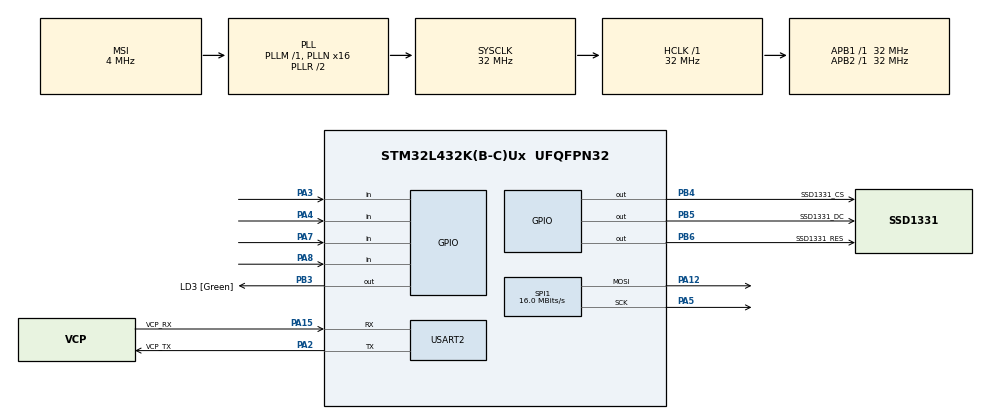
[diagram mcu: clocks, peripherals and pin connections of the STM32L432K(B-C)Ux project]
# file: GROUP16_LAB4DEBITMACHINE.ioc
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Mcu.Family=STM32L4
Mcu.Name=STM32L432K(B-C)Ux
Mcu.Package=UFQFPN32
NVIC.PriorityGroup=NVIC_PRIORITYGROUP_4
PA0.GPIO_Label=MCO [High speed clock in]
PA0.Mode=HSE-External-Clock-Source-for-LittleOrca
PA0.Signal=RCC_CK_IN
PA12.Mode=TX_Only_Simplex_Unidirect_Master
PA12.Signal=SPI1_MOSI
PA13\ (JTMS-SWDIO).GPIO_Label=SWDIO
PA13\ (JTMS-SWDIO).Mode=Serial_Wire
PA13\ (JTMS-SWDIO).Signal=SYS_JTMS-SWDIO
PA14\ (JTCK-SWCLK).GPIO_Label=SWCLK
PA14\ (JTCK-SWCLK).Mode=Serial_Wire
PA14\ (JTCK-SWCLK).Signal=SYS_JTCK-SWCLK
PA15\ (JTDI).GPIO_Label=VCP_RX
PA15\ (JTDI).Mode=Asynchronous
PA15\ (JTDI).Signal=USART2_RX
PA2.GPIO_Label=VCP_TX
PA2.Mode=Asynchronous
PA2.Signal=USART2_TX
PA3.GPIO_PuPd=GPIO_PULLUP
PA3.Signal=GPIO_Input
PA4.GPIO_PuPd=GPIO_PULLUP
PA4.Signal=GPIO_Input
PA5.Mode=TX_Only_Simplex_Unidirect_Master
PA5.Signal=SPI1_SCK
PA7.GPIO_PuPd=GPIO_PULLUP
PA7.Signal=GPIO_Input
PA8.GPIO_PuPd=GPIO_PULLUP
PA8.Signal=GPIO_Input
PB3\ (JTDO-TRACESWO).GPIO_Label=LD3 [Green]
PB3\ (JTDO-TRACESWO).Signal=GPIO_Output
PB4\ (NJTRST).GPIO_Label=SSD1331_CS
PB4\ (NJTRST).Signal=GPIO_Output
PB5.GPIO_Label=SSD1331_DC
PB5.Signal=GPIO_Output
PB6.GPIO_Label=SSD1331_RES
PB6.Signal=GPIO_Output
PC14-OSC32_IN\ (PC14).Mode=LSE-External-Oscillator
PC14-OSC32_IN\ (PC14).Signal=RCC_OSC32_IN
PC15-OSC32_OUT\ (PC15).Mode=LSE-External-Oscillator
PC15-OSC32_OUT\ (PC15).Signal=RCC_OSC32_OUT
ProjectManager.HeapSize=0x200
ProjectManager.StackSize=0x400
ProjectManager.TargetToolchain=STM32CubeIDE
RCC.AHBFreq_Value=32000000
RCC.APB1Freq_Value=32000000
RCC.APB1TimFreq_Value=32000000
RCC.APB2Freq_Value=32000000
RCC.APB2TimFreq_Value=32000000
RCC.CortexFreq_Value=32000000
RCC.HCLKFreq_Value=32000000
RCC.HSE_VALUE=8000000
RCC.HSI16_VALUE=16000000
RCC.HSI48_VALUE=48000000
RCC.HSI_VALUE=16000000
RCC.MSI_VALUE=4000000
RCC.PLLMUL=RCC_PLLMUL_4
RCC.PLLN=16
RCC.SYSCLKFreq_VALUE=32000000
RCC.SYSCLKSource=RCC_SYSCLKSOURCE_PLLCLK
RCC.VCOOutputFreq_Value=64000000
SPI1.CalculateBaudRate=16.0 MBits/s
SPI1.DataSize=SPI_DATASIZE_8BIT
SPI1.Direction=SPI_DIRECTION_2LINES
SPI1.Mode=SPI_MODE_MASTER
SPI1.VirtualType=VM_MASTER
USART2.VirtualMode-Asynchronous=VM_ASYNC
board=NUCLEO-L432KC

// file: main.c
/* USER CODE BEGIN Header */
/**
  ******************************************************************************
  * FILE           : main.c
  * PROJECT reference class: professor vasudevan,professor shahed shahir ,assignement4
  * PROGRAMMER     : CHALUMURI SAI KISHORE ,VIZIA VIDYA SAGAR
  * FIRST VERSION  : 2021-NOVEMBER-15TH
  * DESCRIPTION    : Code for embedded system implementing Debit card rea
  *  der machine using the STM32L432 Nucleo-32 board.
  *  This Debit reader machine can be used as Atms in Banks, Shopping malls to withdraw money from user's bank accountby
  *  giving them the choice to select between chequeing and savings account prior the verification of user information
  *  through input of pin number by clicking the push buttons. The messages to the user are displayed on the OLED ssd1331 and putty.
  *  Once the user is verified it gives the relevant approved and Thank you messages else incorrect pin message will be displayed
  ******************************************************************************
  */
/* USER CODE END Header */
#include "main.h"

/* USER CODE BEGIN Includes */
#include "ssd1331.h"// header file for oled display inbuilt it contins oled functions
#include "fonts.h"//header file for oled display
#include<stdio.h>
#include "stdio.h"
#include "debouncer.h"// header file for debouncer
/* USER CODE END Includes */

SPI_HandleTypeDef hspi1;

UART_HandleTypeDef huart2;

void SystemClock_Config(void);
static void MX_GPIO_Init(void);
static void MX_USART2_UART_Init(void);
static void MX_SPI1_Init(void);

/* USER CODE BEGIN 0 */

// function declrations of the defined functions of the code
void printWelcome();
void printAmount();
void printAccount();
void printCancelled();
void printEnterpin();
void printProcessing();
void printIncorrect();
void printNobalance();
void printApproved();
/* USER CODE END 0 */

int main(void)
{
  /* USER CODE BEGIN 1 */
	//setting up GPIO pins
		uint16_t pin= GPIO_PIN_3;//button for 1
		uint16_t pin2= GPIO_PIN_4;//button for 2
		uint16_t pin3= GPIO_PIN_7;//button for 3

		uint16_t pin4= GPIO_PIN_8;//button for 4

		char port= 'A';//setting port
		int8_t mode = 0;//setting mode
		//initializing ports
		int8_t pA3=1;
		int8_t pA4=1;
		int8_t pA7=1;
		int8_t pA8=1;

		int16_t passCode[]={1111,1121,1133,1213,2111,2331,3111,3211,3333};//preassigning passcodes
		int16_t passWord[3]={0};//password entered by user
		int16_t passwordInt=0;// variable to store the interger value of password entered by user
	//initializing the debounce
		deBounceInit( pin, port, mode);
		deBounceInit2( pin2, port, mode);
		deBounceInit3( pin3, port, mode);
		deBounceInit4( pin4, port, mode);

		int16_t num=0;//for differentiate which button is pressed
		int16_t buttonPressed=0;
		int16_t tranState=0;// state machine state
		int16_t i=0;//counter1
		int16_t j=0;//counter2
		int16_t flag=0;
  /* USER CODE END 1 */

  /* MCU Configuration--------------------------------------------------------*/

  /* Reset of all peripherals, Initializes the Flash interface and the Systick. */
  HAL_Init();

  /* Configure the system clock */
  SystemClock_Config();

  /* Initialize all configured peripherals */
  MX_GPIO_Init();
  MX_USART2_UART_Init();
  MX_SPI1_Init();
  /* USER CODE BEGIN 2 */
  ssd1331_init();
  /* USER CODE END 2 */

  /* Infinite loop */
  while (1)
  {

    /* USER CODE BEGIN 3 */

	  switch(tranState)// USING switch statement for state machine
	      {
	      case 0: printWelcome();//function call to print welcome
	          	int16_t passwordInt=0;//initializing password integer
	         	printf("Welcome\r\n");
	         	//getting the input from ok button
	     	   	pA8 = deBounceReadPin4(pin4, port, mode);
	             if(pA8==0)
	             {
	             	tranState=1;
	             	break;
	             }
	             else
	             {
	             	tranState=0;
	             	break;
	             }
	      case 1:
	     	    printAmount();//function call to print amount
	     	    printf("12.4\r\n press ok or canc\r\n");
	     	    // getting input from button 1 and 2
	     	  	pA3 = deBounceReadPin(pin, port, mode);
	     		pA4 = deBounceReadPin2(pin2, port, mode);
	     		if(pA3==0)
	     		{
	     			tranState=2;
	     			break;
	     		}
	     		else if(pA4==0)
	     		{
	     			tranState=13;
	     			break;

	     		}
	     		else
	     		{
	     			tranState=1;
	     			break;
	     		}

	 		case 2:
	 			printAccount();//fuction call to print account type
	 			printf("Press 1 for Chequing\r\nand 2 for Savings\r\n");
	     	    // getting input from button 1 and 2
	     	  	pA3 = deBounceReadPin(pin, port, mode);
	     		pA4 = deBounceReadPin2(pin2, port, mode);
	     		if(pA3==0)
	     		{
	     			tranState=3;
	     			break;
	     		}
	     		else if(pA4==0)
	 			{
	 				tranState=3;
	 				break;
	 			}
	 			else
	 			{
	 				tranState=2;
	 				break;
	 			}

	 		case 3:
	 			printEnterpin();//function to print enter pin
	 			printf("Enter pin\r\n");
	 			//getting input from all the buttons for first number of password
	 			pA3 = deBounceReadPin(pin, port, mode);
	 			pA4 = deBounceReadPin2(pin2, port, mode);
	 			pA7 = deBounceReadPin3(pin3, port, mode);
	 		    pA8 = deBounceReadPin4(pin4, port, mode);
	 		    if(pA3==0)
	 		    {
	 		    	ssd1331_display_string(1, 2, "*", FONT_1608, GREEN);
	 		    	HAL_Delay(50);
	 		    	ssd1331_clear_screen(BLACK );
	 		    	printf("*");
	 		    	passWord[0]=1;
	 		    	tranState=4;
	 		    	break;
	 		    }
	 		    else if(pA4==0)
	 		    {
	 		    	  ssd1331_display_string(1, 2, "*", FONT_1608, GREEN);
	 		    	HAL_Delay(50);
	 		       ssd1331_clear_screen(BLACK );
	 		      printf("*");
	 		    	passWord[0]=2;
	 		    	tranState=4;
	 		    	break;
	 		    }
	 		    else if (pA7==0)
	 		    {
	 		    	ssd1331_display_string(1, 2, "*", FONT_1608, GREEN);
	 		    	HAL_Delay(50);
	 		        ssd1331_clear_screen(BLACK );
	 		        printf("*");
	 		    	passWord[0]=3;
	 		    	tranState=4;
	 		    	break;
	 		    }
	 		    else
	 		    {
	 		    	tranState=3;
	 		    	break;
	 		    }
	 		case 4:

	 						//getting input from all the buttons for second number of password
	 						pA3 = deBounceReadPin(pin, port, mode);
	 				        pA4 = deBounceReadPin2(pin2, port, mode);
	 				        pA7 = deBounceReadPin3(pin3, port, mode);
	 				        pA8 = deBounceReadPin4(pin4, port, mode);
	 				        if(pA3==0)
	 				        {
	 				        	ssd1331_display_string(1, 2, "**", FONT_1608, GREEN);//display string function call
	 				            HAL_Delay(50);
	 				            ssd1331_clear_screen(BLACK );
	 				            printf("*");
	 			    	     passWord[1]=1;
	 			    	     tranState=5;
	 			    	     break;
	 			            }
	 			          else if(pA4==0)
	 			           {
	 			        	  ssd1331_display_string(1, 2, "**", FONT_1608, GREEN);////display string function call
	 			        	  HAL_Delay(50);
	 			        	  ssd1331_clear_screen(BLACK );
	 			        	  printf("*");
	 			     	     passWord[1]=2;
	 			    	     tranState=5;
	 			    	     break;
	 			            }
	 			         else if (pA7==0)
	 			          {
	 			        	ssd1331_display_string(1, 2, "**", FONT_1608, GREEN);//display string function call
	 			            HAL_Delay(50);
	 			            ssd1331_clear_screen(BLACK );
	 			            printf("*");
	 			        	passWord[1]=3;
	 			        	tranState=5;
	 			    	    break;
	 			          }
	 			         else
	 			         {
	 			        	tranState=4;
	 			        	break;
	 			         }
	 		case 5:

	 					//getting input from all the buttons for third number of password
	 					pA3 = deBounceReadPin(pin, port, mode);
	 			        pA4 = deBounceReadPin2(pin2, port, mode);
	 			        pA7 = deBounceReadPin3(pin3, port, mode);
	 			        pA8 = deBounceReadPin4(pin4, port, mode);
	 			        if(pA3==0)
	 			        {
	 			        	ssd1331_display_string(1, 2, "***", FONT_1608, GREEN);//display string function call
	 			            HAL_Delay(50);
	 			            ssd1331_clear_screen(BLACK );
	 			            printf("*");
	 		    	     passWord[2]=1;
	 		    	     tranState=6;
	 		    	     break;
	 		            }
	 		          else if(pA4==0)
	 		           {
	 		        	 ssd1331_display_string(1, 2, "***", FONT_1608, GREEN);//display string function call
	 		        	 HAL_Delay(50);
	 		        	 ssd1331_clear_screen(BLACK );
	 		        	 printf("*");
	 		     	     passWord[2]=2;
	 		    	     tranState=6;
	 		    	     break;
	 		            }
	 		         else if (pA7==0)
	 		          {
	 		        	ssd1331_display_string(1, 2, "***", FONT_1608, GREEN);//display string function call
	 		            HAL_Delay(50);
	 		            ssd1331_clear_screen(BLACK );
	 		            printf("*");

	 		        	passWord[2]=3;
	 		        	tranState=6;
	 		    	    break;
	 		          }
	 		         else
	 		         {
	 		        	tranState=5;
	 		        	break;
	 		         }
	 		case 6:
	 					//getting input from all the buttons for fourth number of password

	 					pA3 = deBounceReadPin(pin, port, mode);
	 			        pA4 = deBounceReadPin2(pin2, port, mode);
	 			        pA7 = deBounceReadPin3(pin3, port, mode);
	 			        pA8 = deBounceReadPin4(pin4, port, mode);
	 			        if(pA3==0)
	 			        {
	 			        	 ssd1331_display_string(1, 2, "****", FONT_1608, GREEN);//display string function call
	 			        	 HAL_Delay(50);
	 			        	 ssd1331_clear_screen(BLACK );
	 			        	 printf("*");
	 		    	     passWord[3]=1;
	 		    	     tranState=7;
	 		    	     break;
	 		            }
	 		          else if(pA4==0)
	 		           {
	 		        	 ssd1331_display_string(1, 2, "****", FONT_1608, GREEN);//display string function call
	 		        	 HAL_Delay(50);
	 		        	 ssd1331_clear_screen(BLACK );
	 		        	 printf("*");
	 		     	     passWord[3]=2;
	 		    	     tranState=7;
	 		    	     break;
	 		            }
	 		         else if (pA7==0)
	 		          {
	 		        	ssd1331_display_string(1, 2, "****", FONT_1608, GREEN);//display string function call
	 		        	HAL_Delay(50);
	 		           ssd1331_clear_screen(BLACK );
	 		        	printf("*");
	 		        	passWord[3]=3;
	 		        	tranState=7;
	 		    	    break;
	 		          }
	 		         else
	 		         {
	 		        	tranState=6;
	 		        	break;
	 		         }

	 				case 7:

	 					HAL_Delay(1);
	 					//getting input from ok button
	 					pA8 = deBounceReadPin4(pin4, port, mode);
	 				    if(pA8==0)
	 					{

	 					 tranState=8;
	 					 break;
	 				    }
	 					else
	 					{
	 					tranState=7;
	 					break;
	 				    }
	 				case 8:
	 					//print processing
	 					printProcessing();
	 					//converting ented password into interger value
	 					for(i=0;i<4;i++)
	 					{
	 						passwordInt= passwordInt*10;
	 						passwordInt= passwordInt+passWord[i];
	 					}
	 					printf("Entered password=%d\r\n",passwordInt);
	 					tranState=9;
	 					break;

	 				case 9:
	 					//checking for the passcode match
	 		            for(j=0;j<9;j++)
	 		            {
	 		            	if(passCode[j]==passwordInt)
	 		            	{
	 		            		flag=1;
	 		            	}
	 		            }
	 		            if(flag==1)
	 		            {
	 		            	tranState=11;
	 		            	break;
	 		            }
	 		            else
	 		            {
	 		            	tranState=10;
	 		            	break;
	 		            }

	 				case 10:
	 					//printing incorrect pin
	 					printIncorrect();
	 					printf("Incorrect pin\r\n");
	 					tranState=13;
	 					break;

	 				case 11:
	 					//checking for minimum balance
	 					if(passwordInt==3333)
	 					{
	 						tranState=12;
	 						break;
	 					}
	 					else
	 					{   //printing transaction approved
	 						printApproved();
	 						printf("Approved\r\n Thank you\r\n");
	 						tranState=0;
	 						break;
	 					}
	 				case 12://CASE IF THERE IS NO BALANCE IN THE ACCOUNT
	 					printNobalance();
	 					printf("Insufficinet \r\n Balance\r\n");
	 					tranState=13;
	 					break;

	 				case 13:
	 					 printCancelled();//function call to print cancel statement
	 					 printf("Transaction\r\n Cancelled\r\n");
	 					 tranState=0;
	 		 	         break;
	 		     }

  }
  /* USER CODE END 3 */
}

void SystemClock_Config(void)
{
  RCC_OscInitTypeDef RCC_OscInitStruct = {0};
  RCC_ClkInitTypeDef RCC_ClkInitStruct = {0};

  /** Configure the main internal regulator output voltage
  */
  if (HAL_PWREx_ControlVoltageScaling(PWR_REGULATOR_VOLTAGE_SCALE1) != HAL_OK)
  {
    Error_Handler();
  }
  /** Configure LSE Drive Capability
  */
  HAL_PWR_EnableBkUpAccess();
  __HAL_RCC_LSEDRIVE_CONFIG(RCC_LSEDRIVE_LOW);
  /** Initializes the RCC Oscillators according to the specified parameters
  * in the RCC_OscInitTypeDef structure.
  */
  RCC_OscInitStruct.OscillatorType = RCC_OSCILLATORTYPE_LSE|RCC_OSCILLATORTYPE_MSI;
  RCC_OscInitStruct.LSEState = RCC_LSE_ON;
  RCC_OscInitStruct.MSIState = RCC_MSI_ON;
  RCC_OscInitStruct.MSICalibrationValue = 0;
  RCC_OscInitStruct.MSIClockRange = RCC_MSIRANGE_6;
  RCC_OscInitStruct.PLL.PLLState = RCC_PLL_ON;
  RCC_OscInitStruct.PLL.PLLSource = RCC_PLLSOURCE_MSI;
  RCC_OscInitStruct.PLL.PLLM = 1;
  RCC_OscInitStruct.PLL.PLLN = 16;
  RCC_OscInitStruct.PLL.PLLP = RCC_PLLP_DIV7;
  RCC_OscInitStruct.PLL.PLLQ = RCC_PLLQ_DIV2;
  RCC_OscInitStruct.PLL.PLLR = RCC_PLLR_DIV2;
  if (HAL_RCC_OscConfig(&RCC_OscInitStruct) != HAL_OK)
  {
    Error_Handler();
  }
  /** Initializes the CPU, AHB and APB buses clocks
  */
  RCC_ClkInitStruct.ClockType = RCC_CLOCKTYPE_HCLK|RCC_CLOCKTYPE_SYSCLK
                              |RCC_CLOCKTYPE_PCLK1|RCC_CLOCKTYPE_PCLK2;
  RCC_ClkInitStruct.SYSCLKSource = RCC_SYSCLKSOURCE_PLLCLK;
  RCC_ClkInitStruct.AHBCLKDivider = RCC_SYSCLK_DIV1;
  RCC_ClkInitStruct.APB1CLKDivider = RCC_HCLK_DIV1;
  RCC_ClkInitStruct.APB2CLKDivider = RCC_HCLK_DIV1;

  if (HAL_RCC_ClockConfig(&RCC_ClkInitStruct, FLASH_LATENCY_1) != HAL_OK)
  {
    Error_Handler();
  }
  /** Enable MSI Auto calibration
  */
  HAL_RCCEx_EnableMSIPLLMode();
}

static void MX_SPI1_Init(void)
{

  /* SPI1 parameter configuration*/
  hspi1.Instance = SPI1;
  hspi1.Init.Mode = SPI_MODE_MASTER;
  hspi1.Init.Direction = SPI_DIRECTION_2LINES;
  hspi1.Init.DataSize = SPI_DATASIZE_8BIT;
  hspi1.Init.CLKPolarity = SPI_POLARITY_LOW;
  hspi1.Init.CLKPhase = SPI_PHASE_1EDGE;
  hspi1.Init.NSS = SPI_NSS_SOFT;
  hspi1.Init.BaudRatePrescaler = SPI_BAUDRATEPRESCALER_2;
  hspi1.Init.FirstBit = SPI_FIRSTBIT_MSB;
  hspi1.Init.TIMode = SPI_TIMODE_DISABLE;
  hspi1.Init.CRCCalculation = SPI_CRCCALCULATION_DISABLE;
  hspi1.Init.CRCPolynomial = 7;
  hspi1.Init.CRCLength = SPI_CRC_LENGTH_DATASIZE;
  hspi1.Init.NSSPMode = SPI_NSS_PULSE_ENABLE;
  if (HAL_SPI_Init(&hspi1) != HAL_OK)
  {
    Error_Handler();
  }

}

static void MX_USART2_UART_Init(void)
{

  huart2.Instance = USART2;
  huart2.Init.BaudRate = 115200;
  huart2.Init.WordLength = UART_WORDLENGTH_8B;
  huart2.Init.StopBits = UART_STOPBITS_1;
  huart2.Init.Parity = UART_PARITY_NONE;
  huart2.Init.Mode = UART_MODE_TX_RX;
  huart2.Init.HwFlowCtl = UART_HWCONTROL_NONE;
  huart2.Init.OverSampling = UART_OVERSAMPLING_16;
  huart2.Init.OneBitSampling = UART_ONE_BIT_SAMPLE_DISABLE;
  huart2.AdvancedInit.AdvFeatureInit = UART_ADVFEATURE_NO_INIT;
  if (HAL_UART_Init(&huart2) != HAL_OK)
  {
    Error_Handler();
  }

}

static void MX_GPIO_Init(void)
{
  GPIO_InitTypeDef GPIO_InitStruct = {0};

  /* GPIO Ports Clock Enable */
  __HAL_RCC_GPIOC_CLK_ENABLE();
  __HAL_RCC_GPIOA_CLK_ENABLE();
  __HAL_RCC_GPIOB_CLK_ENABLE();

  /*Configure GPIO pin Output Level */
  HAL_GPIO_WritePin(GPIOB, LD3_Pin|SSD1331_CS_Pin|SSD1331_DC_Pin|SSD1331_RES_Pin, GPIO_PIN_RESET);

  /*Configure GPIO pins : PA3 PA4 PA7 PA8 */
  GPIO_InitStruct.Pin = GPIO_PIN_3|GPIO_PIN_4|GPIO_PIN_7|GPIO_PIN_8;
  GPIO_InitStruct.Mode = GPIO_MODE_INPUT;
  GPIO_InitStruct.Pull = GPIO_PULLUP;
  HAL_GPIO_Init(GPIOA, &GPIO_InitStruct);

  /*Configure GPIO pins : LD3_Pin SSD1331_CS_Pin SSD1331_DC_Pin SSD1331_RES_Pin */
  GPIO_InitStruct.Pin = LD3_Pin|SSD1331_CS_Pin|SSD1331_DC_Pin|SSD1331_RES_Pin;
  GPIO_InitStruct.Mode = GPIO_MODE_OUTPUT_PP;
  GPIO_InitStruct.Pull = GPIO_NOPULL;
  GPIO_InitStruct.Speed = GPIO_SPEED_FREQ_LOW;
  HAL_GPIO_Init(GPIOB, &GPIO_InitStruct);

}

/* USER CODE BEGIN 4 */

/*FUNCTION   :void printWelcome()
 * DESCRIPTION: function for printing welcome on lcd
 * PARAMETERS : Nothing
 * RETURNS    : Nothing
 */
void printWelcome()
{
	ssd1331_display_string(1, 2, "WELCOME", FONT_1608, GREEN);
    HAL_Delay(50);
    ssd1331_clear_screen(BLACK ) ;
//	HAL_Delay(1);
}

/*FUNCTION   :void printAmount()
 * DESCRIPTION: function for printing random amount on lcd
 * PARAMETERS : Nothing
 * RETURNS    : Nothing
 */
void printAmount()
{

	ssd1331_display_string(1, 2, "12.34$", FONT_1608, GREEN);
	HAL_Delay(50);
    ssd1331_clear_screen(BLACK ) ;
	ssd1331_display_string(1, 2, "press ok/cancel", FONT_1608, GREEN);
	HAL_Delay(50);
	ssd1331_clear_screen(BLACK ) ;

}
/*FUNCTION   :void printAccount()
 * DESCRIPTION: function for printing account type on lcd
 * PARAMETERS : Nothing
 * RETURNS    : Nothing
 */
void printAccount()
{
	    ssd1331_display_string(1, 2, "Press 1 for Chequing", FONT_1608, GREEN);
		HAL_Delay(50);
	    ssd1331_clear_screen(BLACK );
	    ssd1331_display_string(1, 2, "and 2 for Savings", FONT_1608, GREEN);
	   	HAL_Delay(50);
	   	ssd1331_clear_screen(BLACK );

}
/*FUNCTION   :void printCancelled()
 * DESCRIPTION: function for printing "transaction cancelled" on lcd
 * PARAMETERS : Nothing
 * RETURNS    : Nothing
 */
void printCancelled()
{
	ssd1331_display_string(1, 2, "Transaction", FONT_1608, GREEN);
	HAL_Delay(50);
    ssd1331_clear_screen(BLACK );
    ssd1331_display_string(1, 2, "Cancelled", FONT_1608, GREEN);
    HAL_Delay(50);
    ssd1331_clear_screen(BLACK );

}
/*FUNCTION   :void printEnterpin()
 * DESCRIPTION: function for printing "Enter pin" on lcd
 * PARAMETERS : Nothing
 * RETURNS    : Nothing
 */
void printEnterpin()
{

	ssd1331_display_string(1, 2, "ENTER PIN", FONT_1608, GREEN);
	HAL_Delay(50);
    ssd1331_clear_screen(BLACK );
}
/*FUNCTION   :void printProcessing()
 * DESCRIPTION: function for printing "Processing" on lcd for 10seconds
 * PARAMETERS : Nothing
 * RETURNS    : Nothing
 */
void printProcessing()
{
	//print processing
	ssd1331_display_string(1, 2, "processing", FONT_1608, GREEN);
	HAL_Delay(50);
	ssd1331_clear_screen(BLACK );
	printf("processing\r\n");
}
/*FUNCTION   :void printIncorrect()
 * DESCRIPTION: function for printing "Incorrect pin"  on lcd
 * PARAMETERS : Nothing
 * RETURNS    : Nothing
 */
void printIncorrect()
{
	//printing incorrect pin
	ssd1331_display_string(1, 2, "Incorrect pin", FONT_1608, GREEN);
	HAL_Delay(50);
	ssd1331_clear_screen(BLACK );

}
/*FUNCTION   :void printApproved()
 * DESCRIPTION: function for printing transaction appoval  on lcd
 * PARAMETERS : Nothing
 * RETURNS    : Nothing
 */
void printApproved()
{
	//printing transaction approved
	    ssd1331_display_string(1, 2, "Approved", FONT_1608, GREEN);
		HAL_Delay(50);
	    ssd1331_clear_screen(BLACK );
	    ssd1331_display_string(1, 2, "Thank you", FONT_1608, GREEN);
	    HAL_Delay(50);
	    ssd1331_clear_screen(BLACK );

}
/*FUNCTION   :void printNobalance()
 * DESCRIPTION: function for printing insufficient balance statement on lcd
 * PARAMETERS : Nothing
 * RETURNS    : Nothing
 */
void printNobalance()
{
	ssd1331_display_string(1, 2, "Insufficient", FONT_1608, GREEN);
			HAL_Delay(50);
		    ssd1331_clear_screen(BLACK );
		    ssd1331_display_string(1, 2, "Balance", FONT_1608, GREEN);
		    HAL_Delay(50);
		    ssd1331_clear_screen(BLACK );
}

/* USER CODE END 4 */

void Error_Handler(void)
{
  __disable_irq();
  while (1)
  {
  }
}

/************************ (C) COPYRIGHT STMicroelectronics *****END OF FILE****/
